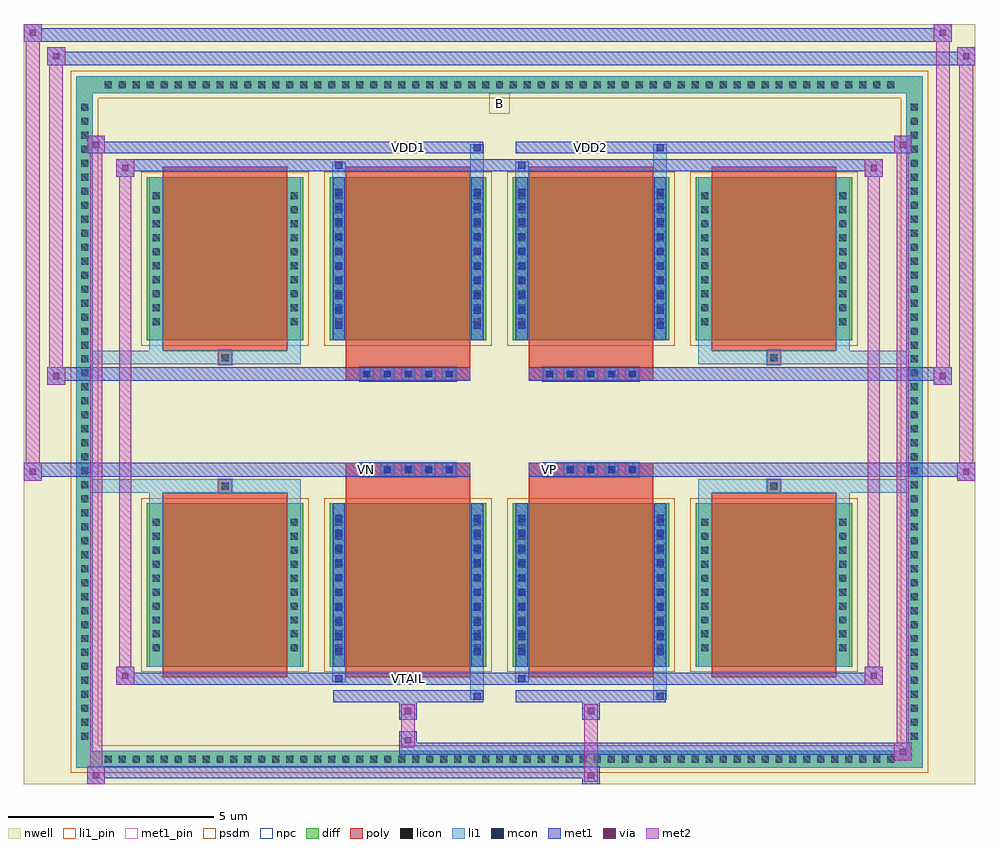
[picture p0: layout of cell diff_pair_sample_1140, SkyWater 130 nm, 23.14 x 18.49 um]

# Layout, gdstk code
import gdstk
lib = gdstk.Library(unit=1e-6, precision=5e-09)
def R(c, l, rs):  # rectangles x0, y0, x1, y1
    for r in rs: c.add(gdstk.rectangle(r[:2], r[2:], *l))
def A(c, l, x, y, w, h, nx, ny, dx, dy):  # array of equal rectangles
    R(c, l, [(x+i*dx, y+j*dy, x+i*dx+w, y+j*dy+h) for i in range(nx) for j in range(ny)])
def P(c, l, *ps):  # polygons
    for p in ps: c.add(gdstk.Polygon(p, *l))
nwell = (64, 20)
diff = (65, 20)
poly = (66, 20)
licon = (66, 44)
li1_pin = (67, 16)
li1 = (67, 20)
mcon = (67, 44)
met1_pin = (68, 16)
met1 = (68, 20)
via = (68, 44)
met2 = (69, 20)
psdm = (94, 20)
npc = (95, 20)

diff_pair_sample_1140 = lib.new_cell('diff_pair_sample_1140')
R(diff_pair_sample_1140, nwell, [(-11.57,-8.81,11.57,9.68), (-8.89,-7,-0.01,-0.8), (0.01,-7,8.89,-0.8), (-8.89,0.8,-0.01,7), (0.01,0.8,8.89,7)])
A(diff_pair_sample_1140, diff, -9.725, -8.41, 0.41, 0.41, 57, 2, 0.34, 16.41)
A(diff_pair_sample_1140, diff, -10.3, -7.855, 0.41, 0.41, 1, 46, 0, 0.34)
A(diff_pair_sample_1140, diff, 9.89, -7.855, 0.41, 0.41, 1, 46, 0, 0.34)
A(diff_pair_sample_1140, diff, -8.58, -5.955, 3.81, 3.97, 4, 2, 4.45, 7.94)
R(diff_pair_sample_1140, diff, [(-9.725,-8.41,9.725,-8), (-10.3,-7.855,-9.89,7.855), (9.89,-7.855,10.3,7.855), (-9.725,8,9.725,8.41)])
P(diff_pair_sample_1140, diff, [(10.3,8.41),(-10.3,8.41),(-10.3,-8),(-9.89,-8),(-9.89,8),(9.89,8),(9.89,-8),(-9.89,-8),(-10.3,-8),(-10.3,-8.41),(10.3,-8.41)])
A(diff_pair_sample_1140, poly, -8.19, -6.21, 3.03, 4.48, 4, 2, 4.45, 7.94)
A(diff_pair_sample_1140, poly, -3.39, -1.33, 0.33, 0.33, 5, 2, 0.5, 2.33)
A(diff_pair_sample_1140, poly, 1.06, -1.33, 0.33, 0.33, 5, 2, 0.5, 2.33)
R(diff_pair_sample_1140, poly, [(-6.84,-1.73,-6.51,-1.4), (-6.84,-1.73,-6.51,-1.4), (-3.74,-1.73,-0.71,-1.33), (0.71,-1.73,3.74,-1.33), (6.51,-1.73,6.84,-1.4), (6.51,-1.73,6.84,-1.4), (-3.74,-1.33,-0.71,-1), (0.71,-1.33,3.74,-1), (-3.74,1,-0.71,1.33), (0.71,1,3.74,1.33), (-3.74,1.33,-0.71,1.73), (0.71,1.33,3.74,1.73), (-6.84,1.4,-6.51,1.73), (-6.84,1.4,-6.51,1.73), (6.51,1.4,6.84,1.73), (6.51,1.4,6.84,1.73)])
A(diff_pair_sample_1140, licon, -9.605, -8.29, 0.17, 0.17, 57, 2, 0.34, 16.41)
A(diff_pair_sample_1140, licon, -10.18, -7.735, 0.17, 0.17, 1, 46, 0, 0.34)
A(diff_pair_sample_1140, licon, 10.01, -7.735, 0.17, 0.17, 1, 46, 0, 0.34)
A(diff_pair_sample_1140, licon, -8.44, -5.585, 0.17, 0.17, 1, 10, 0, 0.34)
A(diff_pair_sample_1140, licon, -5.08, -5.585, 0.17, 0.17, 1, 10, 0, 0.34)
A(diff_pair_sample_1140, licon, -3.99, -5.585, 0.17, 0.17, 1, 10, 0, 0.34)
A(diff_pair_sample_1140, licon, -0.63, -5.585, 0.17, 0.17, 1, 10, 0, 0.34)
A(diff_pair_sample_1140, licon, 0.46, -5.585, 0.17, 0.17, 1, 10, 0, 0.34)
A(diff_pair_sample_1140, licon, 3.82, -5.585, 0.17, 0.17, 1, 10, 0, 0.34)
A(diff_pair_sample_1140, licon, 4.91, -5.585, 0.17, 0.17, 1, 10, 0, 0.34)
A(diff_pair_sample_1140, licon, 8.27, -5.585, 0.17, 0.17, 1, 10, 0, 0.34)
A(diff_pair_sample_1140, licon, -3.31, -1.25, 0.17, 0.17, 5, 2, 0.5, 2.33)
A(diff_pair_sample_1140, licon, 1.14, -1.25, 0.17, 0.17, 5, 2, 0.5, 2.33)
A(diff_pair_sample_1140, licon, -8.44, 2.355, 0.17, 0.17, 1, 10, 0, 0.34)
A(diff_pair_sample_1140, licon, -5.08, 2.355, 0.17, 0.17, 1, 10, 0, 0.34)
A(diff_pair_sample_1140, licon, -3.99, 2.355, 0.17, 0.17, 1, 10, 0, 0.34)
A(diff_pair_sample_1140, licon, -0.63, 2.355, 0.17, 0.17, 1, 10, 0, 0.34)
A(diff_pair_sample_1140, licon, 0.46, 2.355, 0.17, 0.17, 1, 10, 0, 0.34)
A(diff_pair_sample_1140, licon, 3.82, 2.355, 0.17, 0.17, 1, 10, 0, 0.34)
A(diff_pair_sample_1140, licon, 4.91, 2.355, 0.17, 0.17, 1, 10, 0, 0.34)
A(diff_pair_sample_1140, licon, 8.27, 2.355, 0.17, 0.17, 1, 10, 0, 0.34)
R(diff_pair_sample_1140, licon, [(-6.76,-1.65,-6.59,-1.48), (6.59,-1.65,6.76,-1.48), (-6.76,1.48,-6.59,1.65), (6.59,1.48,6.76,1.65)])
R(diff_pair_sample_1140, li1_pin, [(-0.25,7.5,0.25,8)])
A(diff_pair_sample_1140, li1, -9.685, -8.37, 0.33, 0.33, 57, 2, 0.34, 16.41)
A(diff_pair_sample_1140, li1, -10.26, -7.815, 0.33, 0.33, 1, 46, 0, 0.34)
A(diff_pair_sample_1140, li1, 9.93, -7.815, 0.33, 0.33, 1, 46, 0, 0.34)
A(diff_pair_sample_1140, li1, -3.99, -5.675, 0.17, 0.17, 1, 10, 0, 0.36)
A(diff_pair_sample_1140, li1, -0.63, -5.675, 0.17, 0.17, 1, 10, 0, 0.36)
A(diff_pair_sample_1140, li1, 0.46, -5.675, 0.17, 0.17, 1, 10, 0, 0.36)
A(diff_pair_sample_1140, li1, 3.82, -5.675, 0.17, 0.17, 1, 10, 0, 0.36)
A(diff_pair_sample_1140, li1, -8.52, -5.665, 0.33, 0.33, 1, 10, 0, 0.34)
A(diff_pair_sample_1140, li1, -5.16, -5.665, 0.33, 0.33, 1, 10, 0, 0.34)
A(diff_pair_sample_1140, li1, -4.07, -5.665, 0.33, 0.33, 1, 10, 0, 0.34)
A(diff_pair_sample_1140, li1, -0.71, -5.665, 0.33, 0.33, 1, 10, 0, 0.34)
A(diff_pair_sample_1140, li1, 0.38, -5.665, 0.33, 0.33, 1, 10, 0, 0.34)
A(diff_pair_sample_1140, li1, 3.74, -5.665, 0.33, 0.33, 1, 10, 0, 0.34)
A(diff_pair_sample_1140, li1, 4.83, -5.665, 0.33, 0.33, 1, 10, 0, 0.34)
A(diff_pair_sample_1140, li1, 8.19, -5.665, 0.33, 0.33, 1, 10, 0, 0.34)
A(diff_pair_sample_1140, li1, -3.39, -1.33, 0.33, 0.33, 5, 2, 0.5, 2.33)
A(diff_pair_sample_1140, li1, 1.06, -1.33, 0.33, 0.33, 5, 2, 0.5, 2.33)
A(diff_pair_sample_1140, li1, -3.99, 2.265, 0.17, 0.17, 1, 10, 0, 0.36)
A(diff_pair_sample_1140, li1, -0.63, 2.265, 0.17, 0.17, 1, 10, 0, 0.36)
A(diff_pair_sample_1140, li1, 0.46, 2.265, 0.17, 0.17, 1, 10, 0, 0.36)
A(diff_pair_sample_1140, li1, 3.82, 2.265, 0.17, 0.17, 1, 10, 0, 0.36)
A(diff_pair_sample_1140, li1, -8.52, 2.275, 0.33, 0.33, 1, 10, 0, 0.34)
A(diff_pair_sample_1140, li1, -5.16, 2.275, 0.33, 0.33, 1, 10, 0, 0.34)
A(diff_pair_sample_1140, li1, -4.07, 2.275, 0.33, 0.33, 1, 10, 0, 0.34)
A(diff_pair_sample_1140, li1, -0.71, 2.275, 0.33, 0.33, 1, 10, 0, 0.34)
A(diff_pair_sample_1140, li1, 0.38, 2.275, 0.33, 0.33, 1, 10, 0, 0.34)
A(diff_pair_sample_1140, li1, 3.74, 2.275, 0.33, 0.33, 1, 10, 0, 0.34)
A(diff_pair_sample_1140, li1, 4.83, 2.275, 0.33, 0.33, 1, 10, 0, 0.34)
A(diff_pair_sample_1140, li1, 8.19, 2.275, 0.33, 0.33, 1, 10, 0, 0.34)
R(diff_pair_sample_1140, li1, [(-10.3,-8.41,-9.89,-8), (-10.3,-8.41,-9.89,-8), (-9.89,-8.41,9.89,-8), (9.89,-8.41,10.3,-8), (9.89,-8.41,10.3,-8), (-10.3,-8,-9.89,8), (9.89,-8,10.3,8), (-0.71,-6.76,-0.38,-5.955), (-0.63,-6.76,-0.46,-6.59), (3.74,-6.76,4.07,-5.955), (3.82,-6.76,3.99,-6.59), (-4.07,-6.33,-3.74,-5.955), (-3.99,-6.33,-3.82,-6.16), (0.38,-6.33,0.71,-5.955), (0.46,-6.33,0.63,-6.16), (-8.52,-5.955,-8.19,-1.985), (-5.16,-5.955,-4.83,-1.985), (-4.07,-5.955,-3.74,-1.985), (-0.71,-5.955,-0.38,-1.985), (0.38,-5.955,0.71,-1.985), (3.74,-5.955,4.07,-1.985), (4.83,-5.955,5.16,-1.985), (8.19,-5.955,8.52,-1.985), (-3.99,-5.675,-3.82,-2.265), (-0.63,-5.675,-0.46,-2.265), (0.46,-5.675,0.63,-2.265), (3.82,-5.675,3.99,-2.265), (-8.52,-1.985,-8.19,-1.4), (-5.16,-1.985,-4.83,-1.4), (4.83,-1.985,5.16,-1.4), (8.19,-1.985,8.52,-1.4), (-10.3,-1.73,-6.84,-1.4), (-8.52,-1.73,-6.84,-1.4), (-6.84,-1.73,-6.51,-1.4), (-6.51,-1.73,-4.83,-1.4), (4.83,-1.73,6.51,-1.4), (6.51,-1.73,6.84,-1.4), (6.51,-1.73,10.3,-1.4), (6.84,-1.73,8.52,-1.4), (-10.3,1.4,-6.84,1.73), (-8.52,1.4,-6.84,1.73), (-8.52,1.4,-8.19,1.985), (-6.84,1.4,-6.51,1.73), (-6.51,1.4,-4.83,1.73), (-5.16,1.4,-4.83,1.985), (4.83,1.4,6.51,1.73), (4.83,1.4,5.16,1.985), (6.51,1.4,6.84,1.73), (6.51,1.4,10.3,1.73), (6.84,1.4,8.52,1.73), (8.19,1.4,8.52,1.985), (-8.52,1.985,-8.19,5.955), (-5.16,1.985,-4.83,5.955), (-4.07,1.985,-3.74,5.955), (-0.71,1.985,-0.38,5.955), (0.38,1.985,0.71,5.955), (3.74,1.985,4.07,5.955), (4.83,1.985,5.16,5.955), (8.19,1.985,8.52,5.955), (-3.99,2.265,-3.82,5.675), (-0.63,2.265,-0.46,5.675), (0.46,2.265,0.63,5.675), (3.82,2.265,3.99,5.675), (-4.07,5.955,-3.74,6.33), (-0.71,5.955,-0.38,6.76), (0.38,5.955,0.71,6.33), (3.74,5.955,4.07,6.76), (-3.99,6.16,-3.82,6.33), (0.46,6.16,0.63,6.33), (-0.63,6.59,-0.46,6.76), (3.82,6.59,3.99,6.76), (-10.3,8,-9.89,8.41), (-10.3,8,-9.89,8.41), (-9.89,8,9.89,8.41), (9.89,8,10.3,8.41), (9.89,8,10.3,8.41)])
A(diff_pair_sample_1140, mcon, -3.99, -5.675, 0.17, 0.17, 1, 10, 0, 0.36)
A(diff_pair_sample_1140, mcon, -0.63, -5.675, 0.17, 0.17, 1, 10, 0, 0.36)
A(diff_pair_sample_1140, mcon, 0.46, -5.675, 0.17, 0.17, 1, 10, 0, 0.36)
A(diff_pair_sample_1140, mcon, 3.82, -5.675, 0.17, 0.17, 1, 10, 0, 0.36)
A(diff_pair_sample_1140, mcon, -3.31, -1.25, 0.17, 0.17, 5, 2, 0.5, 2.33)
A(diff_pair_sample_1140, mcon, 1.14, -1.25, 0.17, 0.17, 5, 2, 0.5, 2.33)
A(diff_pair_sample_1140, mcon, -3.99, 2.265, 0.17, 0.17, 1, 10, 0, 0.36)
A(diff_pair_sample_1140, mcon, -0.63, 2.265, 0.17, 0.17, 1, 10, 0, 0.36)
A(diff_pair_sample_1140, mcon, 0.46, 2.265, 0.17, 0.17, 1, 10, 0, 0.36)
A(diff_pair_sample_1140, mcon, 3.82, 2.265, 0.17, 0.17, 1, 10, 0, 0.36)
R(diff_pair_sample_1140, mcon, [(-0.63,-6.76,-0.46,-6.59), (3.82,-6.76,3.99,-6.59), (-3.99,-6.33,-3.82,-6.16), (0.46,-6.33,0.63,-6.16), (-3.99,6.16,-3.82,6.33), (0.46,6.16,0.63,6.33), (-0.63,6.59,-0.46,6.76), (3.82,6.59,3.99,6.76)])
R(diff_pair_sample_1140, met1_pin, [(-2.36,-6.37,-2.09,-6.1), (-3.36,-1.29,-3.09,-1.02), (1.09,-1.29,1.36,-1.02), (-2.36,6.55,-2.09,6.82), (2.09,6.55,2.36,6.82)])
A(diff_pair_sample_1140, met1, -4.05, -5.735, 0.29, 0.29, 1, 10, 0, 0.36)
A(diff_pair_sample_1140, met1, -0.69, -5.735, 0.29, 0.29, 1, 10, 0, 0.36)
A(diff_pair_sample_1140, met1, 0.4, -5.735, 0.29, 0.29, 1, 10, 0, 0.36)
A(diff_pair_sample_1140, met1, 3.76, -5.735, 0.29, 0.29, 1, 10, 0, 0.36)
A(diff_pair_sample_1140, met1, -3.37, -1.31, 0.29, 0.29, 5, 2, 0.5, 2.33)
A(diff_pair_sample_1140, met1, 1.08, -1.31, 0.29, 0.29, 5, 2, 0.5, 2.33)
A(diff_pair_sample_1140, met1, -4.05, 2.205, 0.29, 0.29, 1, 10, 0, 0.36)
A(diff_pair_sample_1140, met1, -0.69, 2.205, 0.29, 0.29, 1, 10, 0, 0.36)
A(diff_pair_sample_1140, met1, 0.4, 2.205, 0.29, 0.29, 1, 10, 0, 0.36)
A(diff_pair_sample_1140, met1, 3.76, 2.205, 0.29, 0.29, 1, 10, 0, 0.36)
R(diff_pair_sample_1140, met1, [(-10.03,-8.81,-9.6,-8.38), (2.01,-8.81,2.44,-8.38), (-10.03,-8.67,2.44,-8.38), (9.6,-8.24,10.03,-7.81), (-2.44,-8.1,10.03,-7.81), (-2.44,-7.96,-2.01,-7.53), (-2.44,-7.25,-2.01,-6.82), (2.01,-7.25,2.44,-6.82), (-4.05,-6.82,-0.4,-6.53), (-0.69,-6.82,-0.4,-6.53), (0.4,-6.82,4.05,-6.53), (3.76,-6.82,4.05,-6.53), (-9.32,-6.39,-8.89,-5.96), (-9.32,-6.39,-4.05,-6.1), (-4.05,-6.39,-3.76,-6.1), (-4.05,-6.39,-0.4,-6.1), (-0.4,-6.39,0.4,-6.1), (0.4,-6.39,0.69,-6.1), (0.4,-6.39,4.05,-6.1), (4.05,-6.39,9.32,-6.1), (8.89,-6.39,9.32,-5.96), (-4.05,-5.955,-3.76,-1.985), (-0.69,-5.955,-0.4,-1.985), (0.4,-5.955,0.69,-1.985), (3.76,-5.955,4.05,-1.985), (-11.57,-1.43,-11.14,-1), (11.14,-1.43,11.57,-1), (-11.57,-1.33,-0.71,-1), (-3.74,-1.33,-0.71,-1), (0.71,-1.33,3.74,-1), (0.71,-1.33,11.57,-1), (-11,0.9,-10.57,1.33), (10.57,0.9,11,1.33), (-11,1,-3.74,1.33), (-3.74,1,-0.71,1.33), (0.71,1,3.74,1.33), (3.74,1,11,1.33), (-4.05,1.985,-3.76,5.955), (-0.69,1.985,-0.4,5.955), (0.4,1.985,0.69,5.955), (3.76,1.985,4.05,5.955), (-9.32,5.96,-8.89,6.39), (8.89,5.96,9.32,6.39), (-9.32,6.1,-4.05,6.39), (-4.05,6.1,-3.76,6.39), (-4.05,6.1,-0.4,6.39), (-0.4,6.1,0.4,6.39), (0.4,6.1,0.69,6.39), (0.4,6.1,4.05,6.39), (4.05,6.1,9.32,6.39), (-10.03,6.53,-9.6,6.96), (-10.03,6.53,-4.05,6.82), (-4.05,6.53,-0.4,6.82), (-0.69,6.53,-0.4,6.82), (0.4,6.53,4.05,6.82), (3.76,6.53,4.05,6.82), (4.05,6.53,10.03,6.82), (9.6,6.53,10.03,6.96), (-11,8.68,-10.57,9.11), (-11,8.68,-8.89,9.01), (-8.89,8.68,8.89,9.01), (8.89,8.68,11.57,9.01), (11.14,8.68,11.57,9.11), (-11.57,9.25,-11.14,9.68), (-11.57,9.25,-8.89,9.58), (-8.89,9.25,8.89,9.58), (8.89,9.25,11,9.58), (10.57,9.25,11,9.68)])
R(diff_pair_sample_1140, via, [(-9.89,-8.67,-9.74,-8.52), (2.15,-8.67,2.3,-8.52), (9.74,-8.1,9.89,-7.95), (-2.3,-7.82,-2.15,-7.67), (-2.3,-7.11,-2.15,-6.96), (2.15,-7.11,2.3,-6.96), (-9.18,-6.25,-9.03,-6.1), (9.03,-6.25,9.18,-6.1), (-11.43,-1.29,-11.28,-1.14), (11.28,-1.29,11.43,-1.14), (-10.86,1.04,-10.71,1.19), (10.71,1.04,10.86,1.19), (-9.18,6.1,-9.03,6.25), (9.03,6.1,9.18,6.25), (-9.89,6.67,-9.74,6.82), (9.74,6.67,9.89,6.82), (-10.86,8.82,-10.71,8.97), (11.28,8.82,11.43,8.97), (-11.43,9.39,-11.28,9.54), (10.71,9.39,10.86,9.54)])
R(diff_pair_sample_1140, met2, [(-10.03,-8.81,-9.6,-8.38), (-9.96,-8.81,-9.67,6.96), (-9.67,-8.81,-9.6,-8.38), (-9.98,-8.76,-9.65,-8.43), (2.06,-8.76,2.39,-8.43), (2.06,-8.43,2.39,-7.2), (9.6,-8.24,10.03,-7.81), (9.67,-8.24,9.96,6.96), (9.96,-8.24,10.03,-7.81), (9.65,-8.19,9.98,-7.86), (-2.39,-7.91,-2.06,-7.58), (-2.39,-7.58,-2.06,-7.2), (-2.39,-7.2,-2.06,-6.87), (2.06,-7.2,2.39,-6.87), (-9.32,-6.39,-8.89,-5.96), (-9.25,-6.39,-8.96,6.39), (-8.96,-6.39,-8.89,-5.96), (8.89,-6.39,9.32,-5.96), (8.96,-6.39,9.25,6.39), (9.25,-6.39,9.32,-5.96), (-9.27,-6.34,-8.94,-6.01), (8.94,-6.34,9.27,-6.01), (-11.57,-1.43,-11.14,-1), (-11.52,-1.43,-11.19,9.68), (-11.19,-1.43,-11.14,-1), (11.14,-1.43,11.57,-1), (11.19,-1.43,11.52,9.11), (11.52,-1.43,11.57,-1), (-11.52,-1.38,-11.19,-1.05), (11.19,-1.38,11.52,-1.05), (-11,0.9,-10.57,1.33), (-10.95,0.9,-10.62,9.11), (-10.62,0.9,-10.57,1.33), (10.57,0.9,11,1.33), (10.62,0.9,10.95,9.68), (10.95,0.9,11,1.33), (-10.95,0.95,-10.62,1.28), (10.62,0.95,10.95,1.28), (-9.32,5.96,-8.89,6.39), (-8.96,5.96,-8.89,6.39), (8.89,5.96,9.32,6.39), (9.25,5.96,9.32,6.39), (-9.27,6.01,-8.94,6.34), (8.94,6.01,9.27,6.34), (-10.03,6.53,-9.6,6.96), (-9.67,6.53,-9.6,6.96), (9.6,6.53,10.03,6.96), (9.96,6.53,10.03,6.96), (-9.98,6.58,-9.65,6.91), (9.65,6.58,9.98,6.91), (-11,8.68,-10.57,9.11), (-10.62,8.68,-10.57,9.11), (11.14,8.68,11.57,9.11), (11.52,8.68,11.57,9.11), (-10.95,8.73,-10.62,9.06), (11.19,8.73,11.52,9.06), (-11.57,9.25,-11.14,9.68), (-11.19,9.25,-11.14,9.68), (10.57,9.25,11,9.68), (10.95,9.25,11,9.68), (-11.52,9.3,-11.19,9.63), (10.62,9.3,10.95,9.63)])
A(diff_pair_sample_1140, psdm, -8.71, -6.085, 4.07, 4.23, 4, 2, 4.45, 7.94)
P(diff_pair_sample_1140, psdm, [(10.43,8.54),(-10.43,8.54),(-10.43,-7.87),(-9.76,-7.87),(-9.76,7.87),(9.76,7.87),(9.76,-7.87),(-9.76,-7.87),(-10.43,-7.87),(-10.43,-8.54),(10.43,-8.54)])
A(diff_pair_sample_1140, npc, -3.41, -1.35, 0.37, 0.37, 5, 2, 0.5, 2.33)
A(diff_pair_sample_1140, npc, 1.04, -1.35, 0.37, 0.37, 5, 2, 0.5, 2.33)
R(diff_pair_sample_1140, npc, [(-6.86,-1.75,-6.49,-1.38), (6.49,-1.75,6.86,-1.38), (-3.41,-1.35,-2.54,-0.98), (-3.41,-1.35,-2.54,-0.98), (-2.91,-1.35,-2.04,-0.98), (-2.91,-1.35,-2.04,-0.98), (-2.41,-1.35,-1.54,-0.98), (-2.41,-1.35,-1.54,-0.98), (-1.91,-1.35,-1.04,-0.98), (-1.91,-1.35,-1.04,-0.98), (1.04,-1.35,1.91,-0.98), (1.04,-1.35,1.91,-0.98), (1.54,-1.35,2.41,-0.98), (1.54,-1.35,2.41,-0.98), (2.04,-1.35,2.91,-0.98), (2.04,-1.35,2.91,-0.98), (2.54,-1.35,3.41,-0.98), (2.54,-1.35,3.41,-0.98), (-3.41,0.98,-2.54,1.35), (-3.41,0.98,-2.54,1.35), (-2.91,0.98,-2.04,1.35), (-2.91,0.98,-2.04,1.35), (-2.41,0.98,-1.54,1.35), (-2.41,0.98,-1.54,1.35), (-1.91,0.98,-1.04,1.35), (-1.91,0.98,-1.04,1.35), (1.04,0.98,1.91,1.35), (1.04,0.98,1.91,1.35), (1.54,0.98,2.41,1.35), (1.54,0.98,2.41,1.35), (2.04,0.98,2.91,1.35), (2.04,0.98,2.91,1.35), (2.54,0.98,3.41,1.35), (2.54,0.98,3.41,1.35), (-6.86,1.38,-6.49,1.75), (6.49,1.38,6.86,1.75)])
diff_pair_sample_1140.add(gdstk.Label('VTAIL', (-2.225,-6.235), layer=68, texttype=5))
diff_pair_sample_1140.add(gdstk.Label('VN', (-3.225,-1.155), layer=68, texttype=5))
diff_pair_sample_1140.add(gdstk.Label('VP', (1.225,-1.155), layer=68, texttype=5))
diff_pair_sample_1140.add(gdstk.Label('B', (0,7.75), layer=67, texttype=5))
diff_pair_sample_1140.add(gdstk.Label('VDD2', (2.225,6.685), layer=68, texttype=5))
diff_pair_sample_1140.add(gdstk.Label('VDD1', (-2.225,6.685), layer=68, texttype=5))

lib.write_gds('diff_pair_sample_1140.gds')
